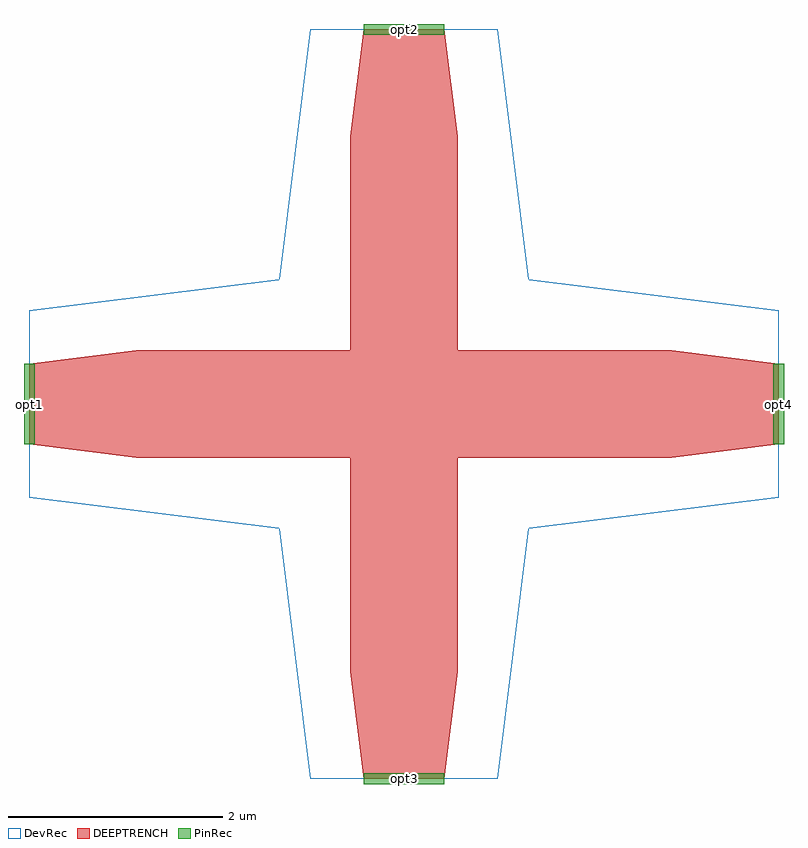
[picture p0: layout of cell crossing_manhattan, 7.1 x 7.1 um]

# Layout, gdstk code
import gdstk
lib = gdstk.Library(unit=1e-6, precision=1e-09)
def R(c, l, rs):  # rectangles x0, y0, x1, y1
    for r in rs: c.add(gdstk.rectangle(r[:2], r[2:], *l))
def P(c, l, *ps):  # polygons
    for p in ps: c.add(gdstk.Polygon(p, *l))
PinRec = (1, 10)
DEEPTRENCH = (4, 0)
DevRec = (68, 0)

crossing_manhattan = lib.new_cell('crossing_manhattan')
R(crossing_manhattan, PinRec, [(-0.375,-3.55,0.375,-3.45), (-3.55,-0.375,-3.45,0.375), (3.45,-0.375,3.55,0.375), (-0.375,3.45,0.375,3.55)])
P(crossing_manhattan, DEEPTRENCH, [(-0.375,-3.5),(-0.5,-2.5),(-0.5,-0.5),(-2.5,-0.5),(-3.5,-0.375),(-3.5,0.375),(-2.5,0.5),(-0.5,0.5),(-0.5,2.5),(-0.375,3.5),(0.375,3.5),(0.5,2.5),(0.5,0.5),(2.5,0.5),(3.5,0.375),(3.5,-0.375),(2.5,-0.5),(0.5,-0.5),(0.5,-2.5),(0.375,-3.5)])
P(crossing_manhattan, DevRec, [(-0.875,-3.5),(-1.167,-1.167),(-3.5,-0.875),(-3.5,0.875),(-1.167,1.167),(-0.875,3.5),(0.875,3.5),(1.167,1.167),(3.5,0.875),(3.5,-0.875),(1.167,-1.167),(0.875,-3.5)])
crossing_manhattan.add(gdstk.Label('opt1', (-3.5,0), layer=1, texttype=10))
crossing_manhattan.add(gdstk.Label('opt2', (0,3.5), layer=1, texttype=10))
crossing_manhattan.add(gdstk.Label('opt4', (3.5,0), layer=1, texttype=10))
crossing_manhattan.add(gdstk.Label('opt3', (0,-3.5), layer=1, texttype=10))

lib.write_gds('crossing_manhattan.gds')
